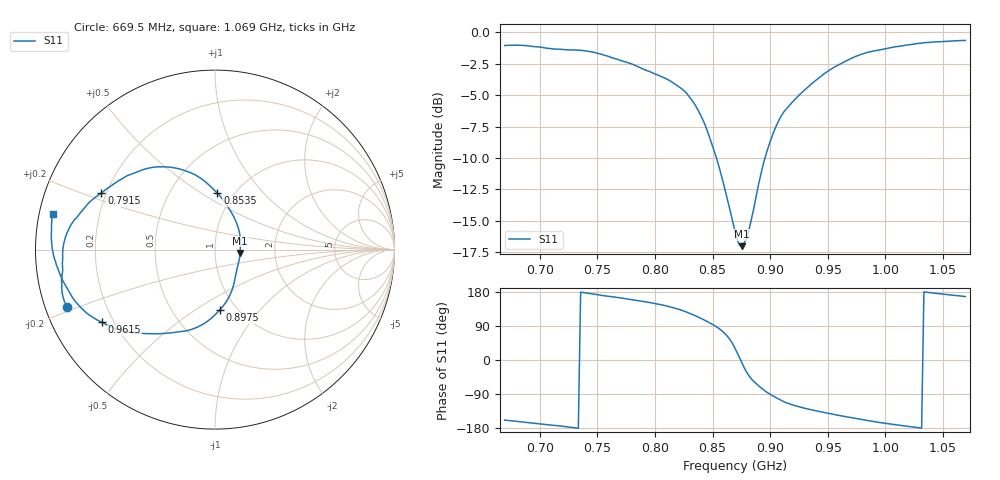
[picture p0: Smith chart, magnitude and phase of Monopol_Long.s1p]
#  HZ  S  RI  R  50.00
! Rohde & Schwarz Vector Network Analyzer
! Rohde-Schwarz,ZNB8-2Port,1311601042102944,2.30
! Created: UTC 3/16/2026, 1:07:08 PM
! freq[Hz]  re:S22  im:S22
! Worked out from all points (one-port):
!   201 points, 669.5 MHz to 1.069 GHz, reference 50 ohm
!   lowest |S11| = -17.0 dB at 875.5 MHz (marker M1), VSWR 1.33, Z = 66.2 - j2.45 ohm
!   |S11| at or under -10 dB: 853.4 MHz to 895.5 MHz (42.15 MHz wide, 4.82 % of centre)
!   S11 on the Smith chart (normalised r, x): 669.5 MHz: 0.06, -0.19; 791.5 MHz: 0.18, +0.23; 853.5 MHz: 0.84, +0.59; 897.5 MHz: 0.83, -0.64; 961.5 MHz: 0.16, -0.29; 1.069 GHz: 0.04, +0.11
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6.695e8  -0.8235 -0.3224
6.895e8  -0.8534 -0.2242
7.195e8  -0.8503 -0.077
7.435e8  -0.8347 0.0645
7.695e8  -0.7435 0.2123
7.915e8  -0.6334 0.3145
8.075e8  -0.5369 0.3836
8.195e8  -0.4324 0.4329
8.275e8  -0.3391 0.4597
8.375e8  -0.1949 0.4486
8.435e8  -0.1066 0.4147
8.535e8  0.0133 0.3145
8.635e8  0.1043 0.1839
8.695e8  0.1386 0.0835
8.735e8  0.1414 0.0142
8.755e8  0.14 -0.0181
8.815e8  0.1227 -0.1073
8.895e8  0.0961 -0.2229
8.975e8  0.0251 -0.3382
9.075e8  -0.1016 -0.4336
9.195e8  -0.2521 -0.4644
9.455e8  -0.497 -0.4562
9.615e8  -0.6304 -0.4055
9.695e8  -0.6888 -0.3723
9.875e8  -0.7935 -0.2681
1.0195e9  -0.8857 -0.077
1.0435e9  -0.9121 0.0622
1.0695e9  -0.9042 0.201
